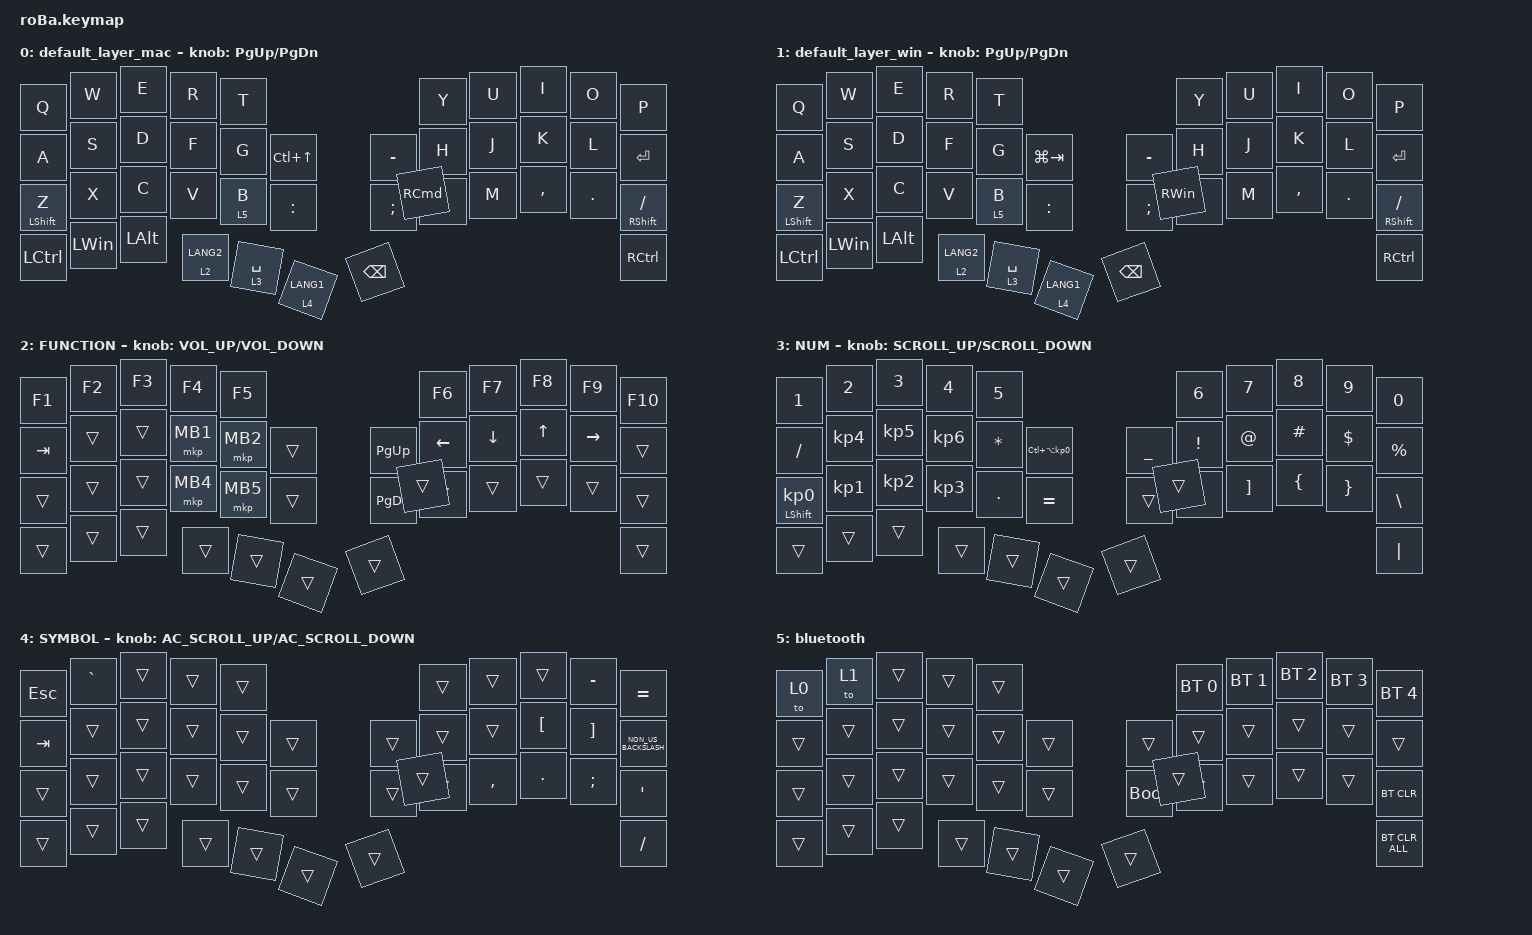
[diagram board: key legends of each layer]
#include <behaviors.dtsi>
#include <dt-bindings/zmk/bt.h>
#include <dt-bindings/zmk/keys.h>
#include <dt-bindings/zmk/pointing.h>

#define ZMK_POINTING_DEFAULT_SCRL_VAL 20

&mt {
    flavor = "balanced";
    quick-tap-ms = <0>;
};

&trackball {
    // automouse-layer = <4>;

    scroll-layers = <4>;

    // arrows {
    //     layers = <3>;
    //     bindings =
    //         <&kp RIGHT_ARROW>,
    //         <&kp LEFT_ARROW>,
    //         <&kp UP_ARROW>,
    //         <&kp DOWN_ARROW>;
    //     tick = <10>;
    //     wait-ms = <5>;
    //     tap-ms = <5>;
    // };
};

/ {
    combos {
        compatible = "zmk,combos";

        QW_ESC {
            bindings = <&kp ESC>;
            key-positions = <0 1>;
            layers = <0 1>;
        };
    };

    macros {
        to_layer_0: to_layer_0 {
            compatible = "zmk,behavior-macro-one-param";
            #binding-cells = <1>;
            bindings = <&to 0 &macro_param_1to1 &kp MACRO_PLACEHOLDER>;
            label = "TO_LAYER_0";
        };

        to_layer_1: to_layer_1 {
            compatible = "zmk,behavior-macro-one-param";
            #binding-cells = <1>;
            bindings = <&to 1 &macro_param_1to1 &kp MACRO_PLACEHOLDER>;
            label = "TO_LAYER_1";
        };
    };

    behaviors {
        lt_to_layer_0: lt_to_layer_0 {
            compatible = "zmk,behavior-hold-tap";
            label = "LAYER_TAP_TO_0";
            bindings = <&mo>, <&to_layer_0>;

            #binding-cells = <2>;
            tapping-term-ms = <200>;
        };

        lt_to_layer_1: lt_to_layer_1 {
            compatible = "zmk,behavior-hold-tap";
            label = "LAYER_TAP_TO_1";
            bindings = <&mo>, <&to_layer_1>;

            #binding-cells = <2>;
            tapping-term-ms = <200>;
        };
    };

    keymap {
        compatible = "zmk,keymap";

        default_layer_mac {
            bindings = <
&kp Q             &kp W         &kp E         &kp R                   &kp T                                                   &kp Y              &kp U  &kp I      &kp O    &kp P
&kp A             &kp S         &kp D         &kp F                   &kp G        &kp LC(UP_ARROW)            &kp MINUS      &kp H              &kp J  &kp K      &kp L    &kp ENTER
&mt LEFT_SHIFT Z  &kp X         &kp C         &kp V                   &lt 5 B      &kp COLON                   &kp SEMICOLON  &kp N              &kp M  &kp COMMA  &kp DOT  &mt RIGHT_SHIFT SLASH
&kp LEFT_CONTROL  &kp LEFT_WIN  &kp LEFT_ALT  &lt_to_layer_0 2 LANG2  &lt 3 SPACE  &lt_to_layer_0 4 LANG1      &kp BACKSPACE  &kp RIGHT_COMMAND                             &kp RIGHT_CONTROL
            >;

            sensor-bindings = <&inc_dec_kp PAGE_UP PAGE_DOWN>;
        };

        default_layer_win {
            bindings = <
&kp Q             &kp W         &kp E         &kp R                   &kp T                                                   &kp Y          &kp U  &kp I      &kp O    &kp P
&kp A             &kp S         &kp D         &kp F                   &kp G        &kp LG(TAB)                 &kp MINUS      &kp H          &kp J  &kp K      &kp L    &kp ENTER
&mt LEFT_SHIFT Z  &kp X         &kp C         &kp V                   &lt 5 B      &kp COLON                   &kp SEMICOLON  &kp N          &kp M  &kp COMMA  &kp DOT  &mt RIGHT_SHIFT SLASH
&kp LEFT_CONTROL  &kp LEFT_WIN  &kp LEFT_ALT  &lt_to_layer_1 2 LANG2  &lt 3 SPACE  &lt_to_layer_1 4 LANG1      &kp BACKSPACE  &kp RIGHT_WIN                             &kp RIGHT_CONTROL
            >;

            sensor-bindings = <&inc_dec_kp PAGE_UP PAGE_DOWN>;
        };

        FUNCTION {
            bindings = <
&kp F1   &kp F2  &kp F3  &kp F4    &kp F5                               &kp F6          &kp F7          &kp F8        &kp F9           &kp F10
&kp TAB  &trans  &trans  &mkp MB1  &mkp MB2  &trans      &kp PAGE_UP    &kp LEFT_ARROW  &kp DOWN_ARROW  &kp UP_ARROW  &kp RIGHT_ARROW  &trans
&trans   &trans  &trans  &mkp MB4  &mkp MB5  &trans      &kp PAGE_DOWN  &trans          &trans          &trans        &trans           &trans
&trans   &trans  &trans  &trans    &trans    &trans      &trans         &trans                                                         &trans
            >;

            sensor-bindings = <&inc_dec_kp C_VOLUME_UP C_VOLUME_DOWN>;
        };

        NUM {
            bindings = <
&kp NUMBER_1                &kp NUMBER_2     &kp NUMBER_3     &kp NUMBER_4     &kp N5                                                     &kp NUMBER_6      &kp N7             &kp N8          &kp N9           &kp N0
&kp SLASH                   &kp KP_NUMBER_4  &kp KP_NUMBER_5  &kp KP_NUMBER_6  &kp ASTERISK  &kp LC(LA(KP_NUMBER_0))      &kp UNDERSCORE  &kp EXCLAMATION   &kp AT_SIGN        &kp HASH        &kp DOLLAR       &kp PERCENT
&mt LEFT_SHIFT KP_NUMBER_0  &kp KP_NUMBER_1  &kp KP_NUMBER_2  &kp KP_NUMBER_3  &kp PERIOD    &kp EQUAL                    &trans          &kp LEFT_BRACKET  &kp RIGHT_BRACKET  &kp LEFT_BRACE  &kp RIGHT_BRACE  &kp BACKSLASH
&trans                      &trans           &trans           &trans           &trans        &trans                       &trans          &trans                                                                &kp PIPE
            >;

            sensor-bindings = <&inc_dec_kp K_SCROLL_UP K_SCROLL_DOWN>;
        };

        SYMBOL {
            bindings = <
&kp ESC  &kp GRAVE  &trans  &trans  &trans                      &trans  &trans     &trans            &kp MINUS          &kp EQUAL
&kp TAB  &trans     &trans  &trans  &trans  &trans      &trans  &trans  &trans     &kp LEFT_BRACKET  &kp RIGHT_BRACKET  &kp NON_US_BACKSLASH
&trans   &trans     &trans  &trans  &trans  &trans      &trans  &trans  &kp COMMA  &kp PERIOD        &kp SEMICOLON      &kp SQT
&trans   &trans     &trans  &trans  &trans  &trans      &trans  &trans                                                  &kp SLASH
            >;

            sensor-bindings = <&inc_dec_kp C_AC_SCROLL_UP C_AC_SCROLL_DOWN>;
        };

        bluetooth {
            bindings = <
&to 0   &to 1   &trans  &trans  &trans                           &bt BT_SEL 0  &bt BT_SEL 1  &bt BT_SEL 2  &bt BT_SEL 3  &bt BT_SEL 4
&trans  &trans  &trans  &trans  &trans  &trans      &trans       &trans        &trans        &trans        &trans        &trans
&trans  &trans  &trans  &trans  &trans  &trans      &bootloader  &trans        &trans        &trans        &trans        &bt BT_CLR
&trans  &trans  &trans  &trans  &trans  &trans      &trans       &trans                                                  &bt BT_CLR_ALL
            >;
        };
    };
};
